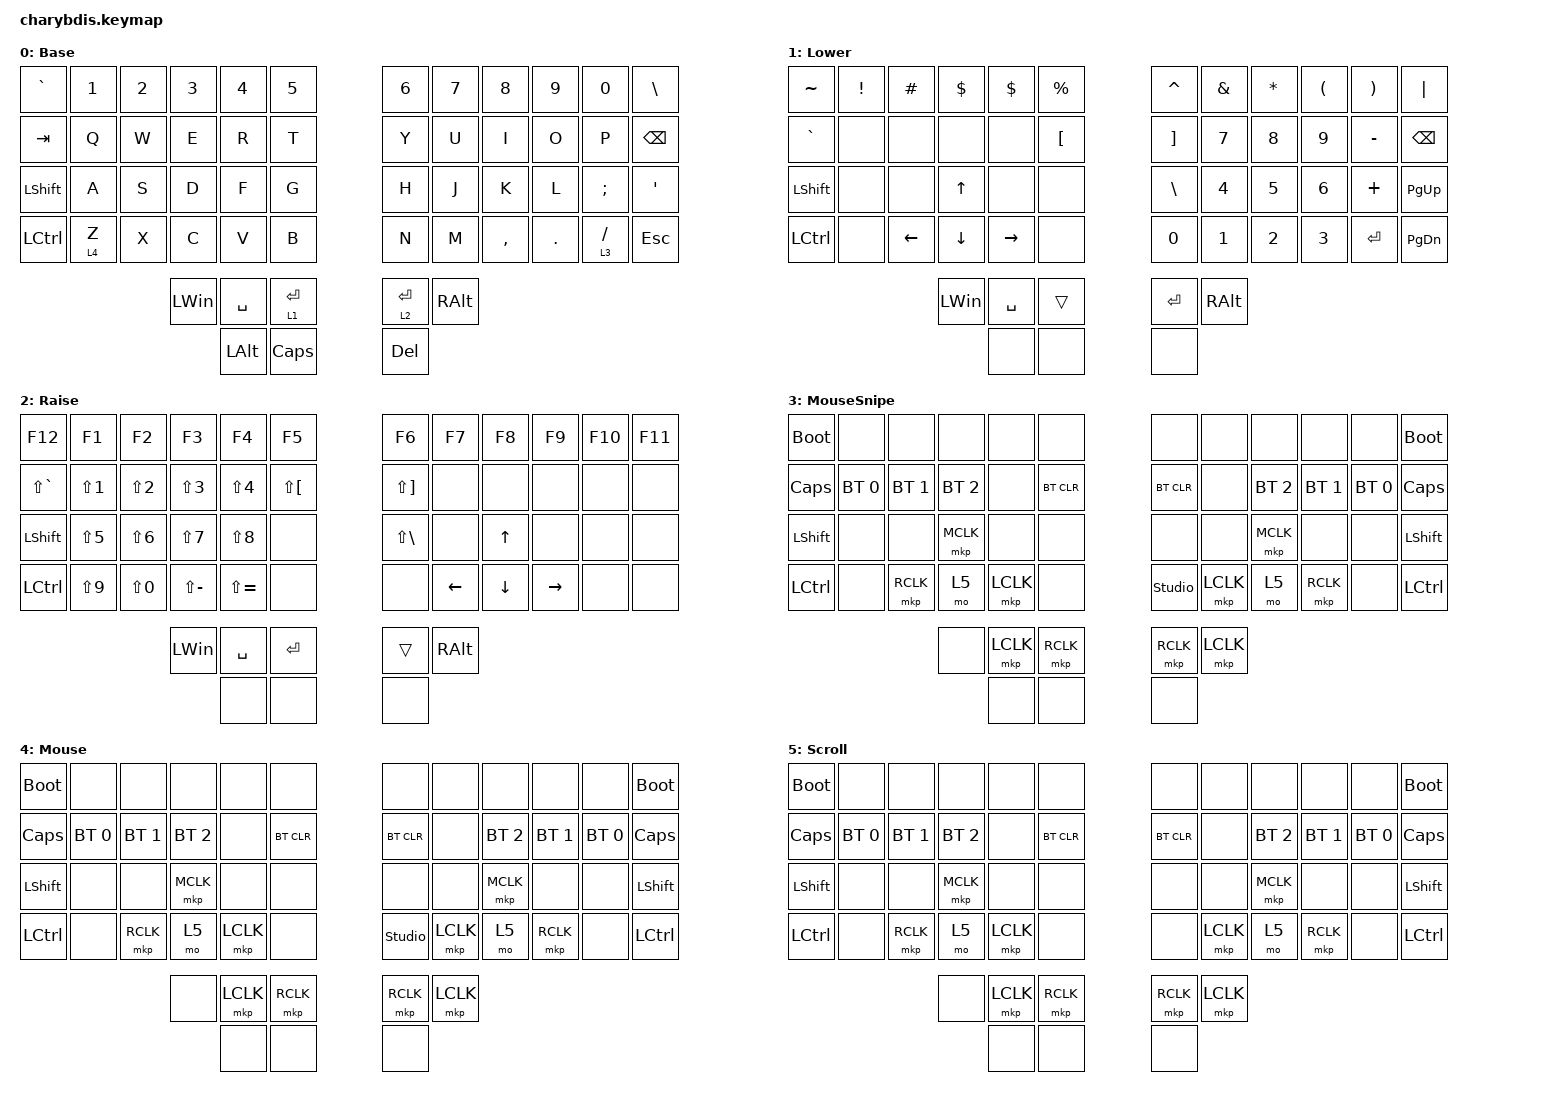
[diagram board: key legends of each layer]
#include <dt-bindings/zmk/mouse.h>
#include <behaviors.dtsi>
#include <dt-bindings/zmk/bt.h>
#include <dt-bindings/zmk/keys.h>
#include <dt-bindings/zmk/pointing.h>

&lt {
    tapping-term-ms = <200>;
    flavor = "balanced";
    quick-tap-ms = <150>;
};

/ {
    combos { compatible = "zmk,combos"; };

    keymap {
        compatible = "zmk,keymap";

        Base {
            bindings = <
&kp GRAVE       &kp N1   &kp N2  &kp N3        &kp N4        &kp N5          &kp N6       &kp N7         &kp N8     &kp N9   &kp N0       &kp BACKSLASH
&kp TAB         &kp Q    &kp W   &kp E         &kp R         &kp T           &kp Y        &kp U          &kp I      &kp O    &kp P        &kp BACKSPACE
&kp LEFT_SHIFT  &kp A    &kp S   &kp D         &kp F         &kp G           &kp H        &kp J          &kp K      &kp L    &kp SEMI     &kp APOS
&kp LCTRL       &lt 4 Z  &kp X   &kp C         &kp V         &kp B           &kp N        &kp M          &kp COMMA  &kp DOT  &lt 3 SLASH  &kp ESCAPE
                                 &kp LEFT_WIN  &kp SPACE     &lt 1 ENTER     &lt 2 ENTER  &kp RIGHT_ALT
                                               &kp LEFT_ALT  &kp CAPSLOCK    &kp DELETE
            >;
        };

        Lower {
            bindings = <
&kp TILDE  &kp EXCLAMATION  &kp HASH      &kp DOLLAR    &kp DOLLAR    &kp PERCENT    &kp CARET      &kp AMPERSAND  &kp ASTERISK  &kp LEFT_PARENTHESIS  &kp RIGHT_PARENTHESIS  &kp PIPE
&kp GRAVE  &none            &none         &none         &none         &kp LBKT       &kp RBKT       &kp NUMBER_7   &kp NUMBER_8  &kp NUMBER_9          &kp MINUS              &kp BACKSPACE
&kp LSHFT  &none            &none         &kp UP        &none         &none          &kp BACKSLASH  &kp NUMBER_4   &kp NUMBER_5  &kp NUMBER_6          &kp PLUS               &kp PAGE_UP
&kp LCTRL  &none            &kp LEFT      &kp DOWN      &kp RIGHT     &none          &kp NUMBER_0   &kp NUMBER_1   &kp NUMBER_2  &kp NUMBER_3          &kp ENTER              &kp PAGE_DOWN
                                          &kp LEFT_WIN  &kp SPACE     &trans         &kp ENTER      &kp RIGHT_ALT
                                                        &none         &none          &none
            >;
        };

        Raise {
            bindings = <
&kp F12        &kp F1      &kp F2      &kp F3         &kp F4         &kp F5          &kp F6             &kp F7         &kp F8    &kp F9     &kp F10  &kp F11
&kp LS(GRAVE)  &kp LS(N1)  &kp LS(N2)  &kp LS(N3)     &kp LS(N4)     &kp LS(LBKT)    &kp LS(RBKT)       &none          &none     &none      &none    &none
&kp LSHFT      &kp LS(N5)  &kp LS(N6)  &kp LS(N7)     &kp LS(N8)     &none           &kp LS(BACKSLASH)  &none          &kp UP    &none      &none    &none
&kp LCTRL      &kp LS(N9)  &kp LS(N0)  &kp LS(MINUS)  &kp LS(EQUAL)  &none           &none              &kp LEFT       &kp DOWN  &kp RIGHT  &none    &none
                                       &kp LEFT_WIN   &kp SPACE      &kp ENTER       &trans             &kp RIGHT_ALT
                                                      &none          &none           &none
            >;
        };

        MouseSnipe {
            bindings = <
&bootloader  &none         &none         &none         &none      &none         &none           &none      &none         &none         &none         &bootloader
&kp CAPSLOCK &bt BT_SEL 0  &bt BT_SEL 1  &bt BT_SEL 2  &none      &bt BT_CLR    &bt BT_CLR      &none      &bt BT_SEL 2  &bt BT_SEL 1  &bt BT_SEL 0  &kp CAPSLOCK
&kp LSHFT    &none         &none         &mkp MCLK     &none      &none         &none           &none      &mkp MCLK     &none         &none         &kp LSHFT
&kp LCTRL    &none         &mkp RCLK     &mo 5         &mkp LCLK  &none         &studio_unlock  &mkp LCLK  &mo 5         &mkp RCLK     &none         &kp LCTRL
                                         &none         &mkp LCLK  &mkp RCLK     &mkp RCLK       &mkp LCLK
                                                       &none      &none         &none
            >;
        };

        Mouse {
            bindings = <
&bootloader  &none         &none         &none         &none      &none         &none           &none      &none         &none         &none         &bootloader
&kp CAPSLOCK &bt BT_SEL 0  &bt BT_SEL 1  &bt BT_SEL 2  &none      &bt BT_CLR    &bt BT_CLR      &none      &bt BT_SEL 2  &bt BT_SEL 1  &bt BT_SEL 0  &kp CAPSLOCK
&kp LSHFT    &none         &none         &mkp MCLK     &none      &none         &none           &none      &mkp MCLK     &none         &none         &kp LSHFT
&kp LCTRL    &none         &mkp RCLK     &mo 5         &mkp LCLK  &none         &studio_unlock  &mkp LCLK  &mo 5         &mkp RCLK     &none         &kp LCTRL
                                         &none         &mkp LCLK  &mkp RCLK     &mkp RCLK       &mkp LCLK
                                                       &none      &none         &none
            >;
        };

        Scroll {
            bindings = <
&bootloader  &none         &none         &none         &none      &none         &none           &none      &none         &none         &none         &bootloader
&kp CAPSLOCK &bt BT_SEL 0  &bt BT_SEL 1  &bt BT_SEL 2  &none      &bt BT_CLR    &bt BT_CLR      &none      &bt BT_SEL 2  &bt BT_SEL 1  &bt BT_SEL 0  &kp CAPSLOCK
&kp LSHFT    &none         &none         &mkp MCLK     &none      &none         &none           &none      &mkp MCLK     &none         &none         &kp LSHFT
&kp LCTRL    &none         &mkp RCLK     &mo 5         &mkp LCLK  &none         &none           &mkp LCLK  &mo 5         &mkp RCLK     &none         &kp LCTRL
                                         &none         &mkp LCLK  &mkp RCLK     &mkp RCLK       &mkp LCLK
                                                       &none      &none         &none
            >;
        };
    };
};
